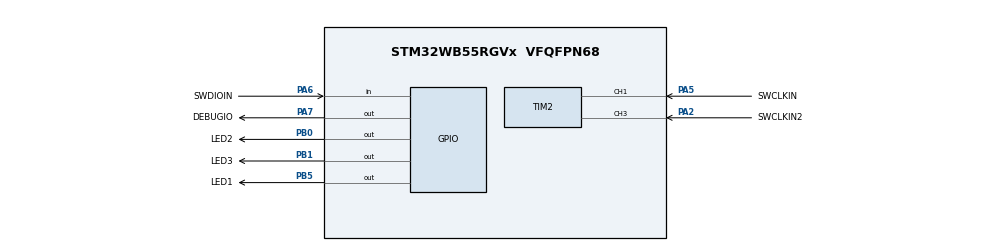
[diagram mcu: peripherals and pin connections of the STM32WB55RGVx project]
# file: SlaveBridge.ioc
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Dma.Request0=TIM2_CH1
Dma.Request1=TIM2_CH2
Dma.Request2=TIM2_CH3
Dma.TIM2_CH1.0.Direction=DMA_PERIPH_TO_MEMORY
Dma.TIM2_CH1.0.EventEnable=DISABLE
Dma.TIM2_CH1.0.Instance=DMA1_Channel1
Dma.TIM2_CH1.0.MemDataAlignment=DMA_MDATAALIGN_WORD
Dma.TIM2_CH1.0.MemInc=DMA_MINC_ENABLE
Dma.TIM2_CH1.0.Mode=DMA_CIRCULAR
Dma.TIM2_CH1.0.PeriphDataAlignment=DMA_PDATAALIGN_WORD
Dma.TIM2_CH1.0.PeriphInc=DMA_PINC_DISABLE
Dma.TIM2_CH1.0.Polarity=HAL_DMAMUX_REQ_GEN_RISING
Dma.TIM2_CH1.0.Priority=DMA_PRIORITY_VERY_HIGH
Dma.TIM2_CH1.0.RequestNumber=1
Dma.TIM2_CH1.0.SignalID=NONE
Dma.TIM2_CH1.0.SyncEnable=DISABLE
Dma.TIM2_CH1.0.SyncPolarity=HAL_DMAMUX_SYNC_NO_EVENT
Dma.TIM2_CH1.0.SyncRequestNumber=1
Dma.TIM2_CH1.0.SyncSignalID=NONE
Dma.TIM2_CH2.1.Direction=DMA_MEMORY_TO_PERIPH
Dma.TIM2_CH2.1.EventEnable=DISABLE
Dma.TIM2_CH2.1.Instance=DMA1_Channel2
Dma.TIM2_CH2.1.MemDataAlignment=DMA_MDATAALIGN_WORD
Dma.TIM2_CH2.1.MemInc=DMA_MINC_ENABLE
Dma.TIM2_CH2.1.Mode=DMA_CIRCULAR
Dma.TIM2_CH2.1.PeriphDataAlignment=DMA_PDATAALIGN_WORD
Dma.TIM2_CH2.1.PeriphInc=DMA_PINC_DISABLE
Dma.TIM2_CH2.1.Polarity=HAL_DMAMUX_REQ_GEN_RISING
Dma.TIM2_CH2.1.Priority=DMA_PRIORITY_VERY_HIGH
Dma.TIM2_CH2.1.RequestNumber=1
Dma.TIM2_CH2.1.SignalID=NONE
Dma.TIM2_CH2.1.SyncEnable=DISABLE
Dma.TIM2_CH2.1.SyncPolarity=HAL_DMAMUX_SYNC_NO_EVENT
Dma.TIM2_CH2.1.SyncRequestNumber=1
Dma.TIM2_CH2.1.SyncSignalID=NONE
Dma.TIM2_CH3.2.Direction=DMA_MEMORY_TO_PERIPH
Dma.TIM2_CH3.2.EventEnable=DISABLE
Dma.TIM2_CH3.2.Instance=DMA1_Channel3
Dma.TIM2_CH3.2.MemDataAlignment=DMA_MDATAALIGN_WORD
Dma.TIM2_CH3.2.MemInc=DMA_MINC_ENABLE
Dma.TIM2_CH3.2.Mode=DMA_CIRCULAR
Dma.TIM2_CH3.2.PeriphDataAlignment=DMA_PDATAALIGN_WORD
Dma.TIM2_CH3.2.PeriphInc=DMA_PINC_DISABLE
Dma.TIM2_CH3.2.Polarity=HAL_DMAMUX_REQ_GEN_RISING
Dma.TIM2_CH3.2.Priority=DMA_PRIORITY_VERY_HIGH
Dma.TIM2_CH3.2.RequestNumber=1
Dma.TIM2_CH3.2.SignalID=NONE
Dma.TIM2_CH3.2.SyncEnable=DISABLE
Dma.TIM2_CH3.2.SyncPolarity=HAL_DMAMUX_SYNC_NO_EVENT
Dma.TIM2_CH3.2.SyncRequestNumber=1
Dma.TIM2_CH3.2.SyncSignalID=NONE
Mcu.Family=STM32WB
Mcu.Name=STM32WB55RGVx
Mcu.Package=VFQFPN68
NVIC.DMA1_Channel1_IRQn=true\:0\:0\:false\:false\:true\:false\:true\:true
NVIC.DMA1_Channel2_IRQn=true\:0\:0\:false\:false\:true\:false\:true\:true
NVIC.DMA1_Channel3_IRQn=true\:0\:0\:false\:false\:true\:false\:true\:true
NVIC.PriorityGroup=NVIC_PRIORITYGROUP_4
NVIC.TIM1_UP_TIM16_IRQn=true\:0\:0\:false\:false\:true\:true\:true\:true
PA2.GPIO_Label=SWCLKIN2
PA2.GPIO_Speed=GPIO_SPEED_FREQ_VERY_HIGH
PA2.Signal=S_TIM2_CH3
PA5.GPIO_Label=SWCLKIN
PA5.GPIO_Speed=GPIO_SPEED_FREQ_VERY_HIGH
PA5.Signal=S_TIM2_CH1
PA6.GPIO_Label=SWDIOIN
PA6.GPIO_PuPd=GPIO_PULLUP
PA6.Signal=GPIO_Input
PA7.GPIO_Label=DEBUGIO
PA7.Signal=GPIO_Output
PB0.GPIO_Label=LED2
PB0.Signal=GPIO_Output
PB1.GPIO_Label=LED3
PB1.Signal=GPIO_Output
PB5.GPIO_Label=LED1
PB5.Signal=GPIO_Output
ProjectManager.HeapSize=0x200
ProjectManager.StackSize=0x400
ProjectManager.TargetToolchain=STM32CubeIDE
RCC.ADCFreq_Value=64000000
RCC.AHB2CLKDivider=RCC_SYSCLK_DIV2
RCC.AHBFreq_Value=64000000
RCC.APB1Freq_Value=64000000
RCC.APB1TimFreq_Value=64000000
RCC.APB2Freq_Value=64000000
RCC.APB2TimFreq_Value=64000000
RCC.APB3Freq_Value=16000000
RCC.CortexFreq_Value=64000000
RCC.HCLKFreq_Value=64000000
RCC.HSE_VALUE=8000000
RCC.HSI48_VALUE=48000000
RCC.HSI_VALUE=16000000
RCC.LSE_VALUE=32768
RCC.MSIClockRange=RCC_MSIRANGE_8
RCC.SYSCLKFreq_VALUE=64000000
RCC.SYSCLKSource=RCC_SYSCLKSOURCE_PLLCLK
RCC.USBFreq_Value=64000000
RCC.VCOOutputFreq_Value=128000000
SH.S_TIM2_CH1.0=TIM2_CH1,Input_Capture1_from_TI1
SH.S_TIM2_CH3.0=TIM2_CH3,Input_Capture3_from_TI3
TIM1.Period=7999
TIM1.Prescaler=7999
TIM2.Channel-Input_Capture1_from_TI1=TIM_CHANNEL_1
TIM2.Channel-Input_Capture2_from_TI1_63=TIM_CHANNEL_2
TIM2.Channel-Input_Capture3_from_TI3=TIM_CHANNEL_3
TIM2.ICPolarity_CH2=TIM_INPUTCHANNELPOLARITY_FALLING
TIM2.ICPolarity_CH3=TIM_INPUTCHANNELPOLARITY_FALLING
VP_MEMORYMAP_VS_MEMORYMAP.Mode=CurAppReg
VP_TIM1_VS_ClockSourceINT.Mode=Internal
VP_TIM2_VS_ClockSourceINT.Mode=Internal
VP_TIM2_VS_indirect_ch1.Mode=Input_Capture2_from_TI1_63
board=custom

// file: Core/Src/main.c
/* USER CODE BEGIN Header */
/**
  ******************************************************************************
  * @file           : main.c
  * @brief          : Main program body
  ******************************************************************************
  * @attention
  *
  * Copyright (c) 2026 STMicroelectronics.
  * All rights reserved.
  *
  * This software is licensed under terms that can be found in the LICENSE file
  * in the root directory of this software component.
  * If no LICENSE file comes with this software, it is provided AS-IS.
  *
  ******************************************************************************
  */
/* USER CODE END Header */
#include "blecommunication.h"
#include "main.h"

/* USER CODE BEGIN Includes */
#include "slave.h"
/* USER CODE END Includes */

TIM_HandleTypeDef htim1;
TIM_HandleTypeDef htim2;
DMA_HandleTypeDef hdma_tim2_ch1;
DMA_HandleTypeDef hdma_tim2_ch2;
DMA_HandleTypeDef hdma_tim2_ch3;

/* USER CODE BEGIN PV */
volatile uint32_t DMARxBuffer[SLAVEDMASIZE];
volatile uint32_t DMATxBuffer[SLAVEDMASIZE];
volatile uint32_t DMAMODERBuffer[SLAVEDMASIZE];
volatile BLEStatus blestatus = {
	.ready = 0,
	.busy = 0,
	.packet = {
		.request = 0,
		.ack = 0,
		.data = 0,
		.parity = 0
	}
};
/* USER CODE END PV */

void SystemClock_Config(void);
void PeriphCommonClock_Config(void);
static void MX_GPIO_Init(void);
static void MX_DMA_Init(void);
static void MX_TIM2_Init(void);
static void MX_TIM1_Init(void);

int main(void)
{

  /* MCU Configuration--------------------------------------------------------*/

  /* Reset of all peripherals, Initializes the Flash interface and the Systick. */
  HAL_Init();

  /* Configure the system clock */
  SystemClock_Config();

  /* Configure the peripherals common clocks */
  PeriphCommonClock_Config();

  /* Initialize all configured peripherals */
  MX_GPIO_Init();
  MX_DMA_Init();
  MX_TIM2_Init();
  MX_TIM1_Init();
  /* USER CODE BEGIN 2 */

  // Enable TIM1
  TIM1->DIER |= TIM_DIER_UIE;
  TIM1->CR1 |= TIM_CR1_CEN;

  SlaveClearAllDMA();
  StartDMA();

  // Start Capture Channels
  if (HAL_TIM_IC_Start(&htim2, TIM_CHANNEL_1) != HAL_OK) {
      Error_Handler();
  }

  if (HAL_TIM_IC_Start(&htim2, TIM_CHANNEL_2) != HAL_OK) {
      Error_Handler();
  }

  if (HAL_TIM_IC_Start(&htim2, TIM_CHANNEL_3) != HAL_OK) {
      Error_Handler();
  }

  	SlaveState state = Start;
  	SWDPacket packet = {
  		.request = 0,
  		.ack = 0,
  		.data = 0,
  		.parity = 0
  	};
  	uint8_t dmaidx, curridx = 0;
  	uint32_t bitin, data=0, counter=0;

  /* USER CODE END 2 */

  /* Infinite loop */
  /* USER CODE BEGIN WHILE */
  while (1){
	dmaidx = SlaveDMARxIndex();

	if(curridx != dmaidx){
		DEBUGIOHIGH;
		curridx++;
		switch(state){
		case Start:
			bitin = SlaveDMABit(curridx-1);
			data = (((data >> 1UL) | (bitin << 7UL)) & 0xFF);
			switch(data){
			case 0xFF:
				state = LineReset0;
				break;
			// Write
			case 0b10000001:
			case 0b10100011:
			case 0b10101001:
			case 0b10001011:
			case 0b10110001:
			case 0b10010011:
			case 0b10011001:
			case 0b10111011:
				SlaveSetDMAAckOk(curridx+14);
				SlaveSetDMAWrite(curridx+17);
				SlaveSet2DMARequest(curridx+51);
				counter = 36;
				state = Write;
				packet.request = data;
				break;
			// Read
			case 0b10100101:
			case 0b10000111:
			case 0b10001101:
			case 0b10101111:
			case 0b10010101:
			case 0b10110111:
			case 0b10111101:
			case 0b10011111:
				if(blestatus.ready && blestatus.packet.request == data){
					SlaveSetDMAAckOk(curridx+14);
					SlaveSetDMARead(curridx+17, &data);
					SlaveSet2DMARequest(curridx+51);
					counter = 37;
					state = Read;
					packet.request = data;
				}else if(!blestatus.busy){
					SlaveSetDMAAckWait(curridx+14);
					SlaveSetDMARequest(curridx+18);
					packet.request = data;
				}else{
					SlaveSetDMAAckWait(curridx+14);
					SlaveSetDMARequest(curridx+18);
					packet.request = data;
				}
				data = 0;
				break;
			default:
				break;
			}
			break;
		case Read:
			if((--counter) == 0){
				state = Start;
				data = 0;
			}
			break;
		case Write:
			bitin = SlaveDMABit(curridx-1);
			data = ((data >> 1UL) | (bitin << 31UL));
			if((--counter) == 0){
				state = WriteParity;
				packet.data = data;
			}
			break;
		case WriteParity:
			bitin = SlaveDMABit(curridx-1);
			if(bitin == __builtin_parity(data)){
				packet.parity = bitin;
				SendPacket(&packet);
			}
			state = Start;
			data = 0;
			break;
		case LineReset0:
			bitin = SlaveDMABit(curridx-1);
			SlaveSetDMADiscard(curridx);
			if(!bitin){
				data = 0;
				state = LineReset1;
			}
			break;
		case LineReset1:
			bitin = SlaveDMABit(curridx-1);
			SlaveSetDMADiscard(curridx);
			if(bitin){
				state = LineSWD;
				data = 0x8000;
			}else{
				SlaveSet2DMARequest(curridx);
				SendLineReset();
				state = Start;
				data = 0;
			}
			break;
		case LineSWD:
			bitin = SlaveDMABit(curridx-1);
			SlaveSetDMADiscard(curridx);
			data = ((data >> 1UL) | (bitin << 15UL));
			if(data == SWDLINECOMMAND){
				SlaveSet2DMARequest(curridx);
				SendLineSWD();
				state = Start;
			}
			break;
		default:
			break;
		}
		DEBUGIOLOW;
	}
    /* USER CODE END WHILE */

  }
}

void SystemClock_Config(void)
{
  RCC_OscInitTypeDef RCC_OscInitStruct = {0};
  RCC_ClkInitTypeDef RCC_ClkInitStruct = {0};

  /** Configure the main internal regulator output voltage
  */
  __HAL_PWR_VOLTAGESCALING_CONFIG(PWR_REGULATOR_VOLTAGE_SCALE1);

  /** Initializes the RCC Oscillators according to the specified parameters
  * in the RCC_OscInitTypeDef structure.
  */
  RCC_OscInitStruct.OscillatorType = RCC_OSCILLATORTYPE_HSI|RCC_OSCILLATORTYPE_MSI;
  RCC_OscInitStruct.HSIState = RCC_HSI_ON;
  RCC_OscInitStruct.MSIState = RCC_MSI_ON;
  RCC_OscInitStruct.HSICalibrationValue = RCC_HSICALIBRATION_DEFAULT;
  RCC_OscInitStruct.MSICalibrationValue = RCC_MSICALIBRATION_DEFAULT;
  RCC_OscInitStruct.MSIClockRange = RCC_MSIRANGE_8;
  RCC_OscInitStruct.PLL.PLLState = RCC_PLL_ON;
  RCC_OscInitStruct.PLL.PLLSource = RCC_PLLSOURCE_MSI;
  RCC_OscInitStruct.PLL.PLLM = RCC_PLLM_DIV1;
  RCC_OscInitStruct.PLL.PLLN = 8;
  RCC_OscInitStruct.PLL.PLLP = RCC_PLLP_DIV2;
  RCC_OscInitStruct.PLL.PLLR = RCC_PLLR_DIV2;
  RCC_OscInitStruct.PLL.PLLQ = RCC_PLLQ_DIV2;
  if (HAL_RCC_OscConfig(&RCC_OscInitStruct) != HAL_OK)
  {
    Error_Handler();
  }

  /** Configure the SYSCLKSource, HCLK, PCLK1 and PCLK2 clocks dividers
  */
  RCC_ClkInitStruct.ClockType = RCC_CLOCKTYPE_HCLK4|RCC_CLOCKTYPE_HCLK2
                              |RCC_CLOCKTYPE_HCLK|RCC_CLOCKTYPE_SYSCLK
                              |RCC_CLOCKTYPE_PCLK1|RCC_CLOCKTYPE_PCLK2;
  RCC_ClkInitStruct.SYSCLKSource = RCC_SYSCLKSOURCE_PLLCLK;
  RCC_ClkInitStruct.AHBCLKDivider = RCC_SYSCLK_DIV1;
  RCC_ClkInitStruct.APB1CLKDivider = RCC_HCLK_DIV1;
  RCC_ClkInitStruct.APB2CLKDivider = RCC_HCLK_DIV1;
  RCC_ClkInitStruct.AHBCLK2Divider = RCC_SYSCLK_DIV2;
  RCC_ClkInitStruct.AHBCLK4Divider = RCC_SYSCLK_DIV1;

  if (HAL_RCC_ClockConfig(&RCC_ClkInitStruct, FLASH_LATENCY_3) != HAL_OK)
  {
    Error_Handler();
  }
}

void PeriphCommonClock_Config(void)
{
  RCC_PeriphCLKInitTypeDef PeriphClkInitStruct = {0};

  /** Initializes the peripherals clock
  */
  PeriphClkInitStruct.PeriphClockSelection = RCC_PERIPHCLK_SMPS;
  PeriphClkInitStruct.SmpsClockSelection = RCC_SMPSCLKSOURCE_HSI;
  PeriphClkInitStruct.SmpsDivSelection = RCC_SMPSCLKDIV_RANGE1;

  if (HAL_RCCEx_PeriphCLKConfig(&PeriphClkInitStruct) != HAL_OK)
  {
    Error_Handler();
  }
}

static void MX_TIM1_Init(void)
{

  TIM_ClockConfigTypeDef sClockSourceConfig = {0};
  TIM_MasterConfigTypeDef sMasterConfig = {0};

  htim1.Instance = TIM1;
  htim1.Init.Prescaler = 7999;
  htim1.Init.CounterMode = TIM_COUNTERMODE_UP;
  htim1.Init.Period = 7999;
  htim1.Init.ClockDivision = TIM_CLOCKDIVISION_DIV1;
  htim1.Init.RepetitionCounter = 0;
  htim1.Init.AutoReloadPreload = TIM_AUTORELOAD_PRELOAD_DISABLE;
  if (HAL_TIM_Base_Init(&htim1) != HAL_OK)
  {
    Error_Handler();
  }
  sClockSourceConfig.ClockSource = TIM_CLOCKSOURCE_INTERNAL;
  if (HAL_TIM_ConfigClockSource(&htim1, &sClockSourceConfig) != HAL_OK)
  {
    Error_Handler();
  }
  sMasterConfig.MasterOutputTrigger = TIM_TRGO_RESET;
  sMasterConfig.MasterOutputTrigger2 = TIM_TRGO2_RESET;
  sMasterConfig.MasterSlaveMode = TIM_MASTERSLAVEMODE_DISABLE;
  if (HAL_TIMEx_MasterConfigSynchronization(&htim1, &sMasterConfig) != HAL_OK)
  {
    Error_Handler();
  }

}

static void MX_TIM2_Init(void)
{

  TIM_ClockConfigTypeDef sClockSourceConfig = {0};
  TIM_MasterConfigTypeDef sMasterConfig = {0};
  TIM_IC_InitTypeDef sConfigIC = {0};

  htim2.Instance = TIM2;
  htim2.Init.Prescaler = 0;
  htim2.Init.CounterMode = TIM_COUNTERMODE_UP;
  htim2.Init.Period = 4294967295;
  htim2.Init.ClockDivision = TIM_CLOCKDIVISION_DIV1;
  htim2.Init.AutoReloadPreload = TIM_AUTORELOAD_PRELOAD_DISABLE;
  if (HAL_TIM_Base_Init(&htim2) != HAL_OK)
  {
    Error_Handler();
  }
  sClockSourceConfig.ClockSource = TIM_CLOCKSOURCE_INTERNAL;
  if (HAL_TIM_ConfigClockSource(&htim2, &sClockSourceConfig) != HAL_OK)
  {
    Error_Handler();
  }
  if (HAL_TIM_IC_Init(&htim2) != HAL_OK)
  {
    Error_Handler();
  }
  sMasterConfig.MasterOutputTrigger = TIM_TRGO_RESET;
  sMasterConfig.MasterSlaveMode = TIM_MASTERSLAVEMODE_DISABLE;
  if (HAL_TIMEx_MasterConfigSynchronization(&htim2, &sMasterConfig) != HAL_OK)
  {
    Error_Handler();
  }
  sConfigIC.ICPolarity = TIM_INPUTCHANNELPOLARITY_RISING;
  sConfigIC.ICSelection = TIM_ICSELECTION_DIRECTTI;
  sConfigIC.ICPrescaler = TIM_ICPSC_DIV1;
  sConfigIC.ICFilter = 0;
  if (HAL_TIM_IC_ConfigChannel(&htim2, &sConfigIC, TIM_CHANNEL_1) != HAL_OK)
  {
    Error_Handler();
  }
  sConfigIC.ICPolarity = TIM_INPUTCHANNELPOLARITY_FALLING;
  sConfigIC.ICSelection = TIM_ICSELECTION_INDIRECTTI;
  if (HAL_TIM_IC_ConfigChannel(&htim2, &sConfigIC, TIM_CHANNEL_2) != HAL_OK)
  {
    Error_Handler();
  }
  sConfigIC.ICSelection = TIM_ICSELECTION_DIRECTTI;
  if (HAL_TIM_IC_ConfigChannel(&htim2, &sConfigIC, TIM_CHANNEL_3) != HAL_OK)
  {
    Error_Handler();
  }

}

static void MX_DMA_Init(void)
{

  /* DMA controller clock enable */
  __HAL_RCC_DMAMUX1_CLK_ENABLE();
  __HAL_RCC_DMA1_CLK_ENABLE();

  /* DMA interrupt init */
  /* DMA1_Channel1_IRQn interrupt configuration */
  HAL_NVIC_SetPriority(DMA1_Channel1_IRQn, 0, 0);
  HAL_NVIC_EnableIRQ(DMA1_Channel1_IRQn);
  /* DMA1_Channel2_IRQn interrupt configuration */
  HAL_NVIC_SetPriority(DMA1_Channel2_IRQn, 0, 0);
  HAL_NVIC_EnableIRQ(DMA1_Channel2_IRQn);
  /* DMA1_Channel3_IRQn interrupt configuration */
  HAL_NVIC_SetPriority(DMA1_Channel3_IRQn, 0, 0);
  HAL_NVIC_EnableIRQ(DMA1_Channel3_IRQn);

}

static void MX_GPIO_Init(void)
{
  GPIO_InitTypeDef GPIO_InitStruct = {0};

  /* GPIO Ports Clock Enable */
  __HAL_RCC_GPIOA_CLK_ENABLE();
  __HAL_RCC_GPIOB_CLK_ENABLE();

  /*Configure GPIO pin Output Level */
  HAL_GPIO_WritePin(DEBUGIO_GPIO_Port, DEBUGIO_Pin, GPIO_PIN_RESET);

  /*Configure GPIO pin Output Level */
  HAL_GPIO_WritePin(GPIOB, LED2_Pin|LED3_Pin|LED1_Pin, GPIO_PIN_RESET);

  /*Configure GPIO pin : SWDIOIN_Pin */
  GPIO_InitStruct.Pin = SWDIOIN_Pin;
  GPIO_InitStruct.Mode = GPIO_MODE_INPUT;
  GPIO_InitStruct.Pull = GPIO_PULLUP;
  HAL_GPIO_Init(SWDIOIN_GPIO_Port, &GPIO_InitStruct);

  /*Configure GPIO pin : DEBUGIO_Pin */
  GPIO_InitStruct.Pin = DEBUGIO_Pin;
  GPIO_InitStruct.Mode = GPIO_MODE_OUTPUT_PP;
  GPIO_InitStruct.Pull = GPIO_NOPULL;
  GPIO_InitStruct.Speed = GPIO_SPEED_FREQ_LOW;
  HAL_GPIO_Init(DEBUGIO_GPIO_Port, &GPIO_InitStruct);

  /*Configure GPIO pins : LED2_Pin LED3_Pin LED1_Pin */
  GPIO_InitStruct.Pin = LED2_Pin|LED3_Pin|LED1_Pin;
  GPIO_InitStruct.Mode = GPIO_MODE_OUTPUT_PP;
  GPIO_InitStruct.Pull = GPIO_NOPULL;
  GPIO_InitStruct.Speed = GPIO_SPEED_FREQ_LOW;
  HAL_GPIO_Init(GPIOB, &GPIO_InitStruct);

  /* USER CODE BEGIN MX_GPIO_Init_2 */
  // Configure SWDIOIN to very high speed
  SWDIOIN_GPIO_Port->OSPEEDR |= (3UL << (SWDIOINSHIFT * 2UL));
  /* USER CODE END MX_GPIO_Init_2 */
}

void Error_Handler(void)
{
  __disable_irq();
  while (1)
  {
  }
}
